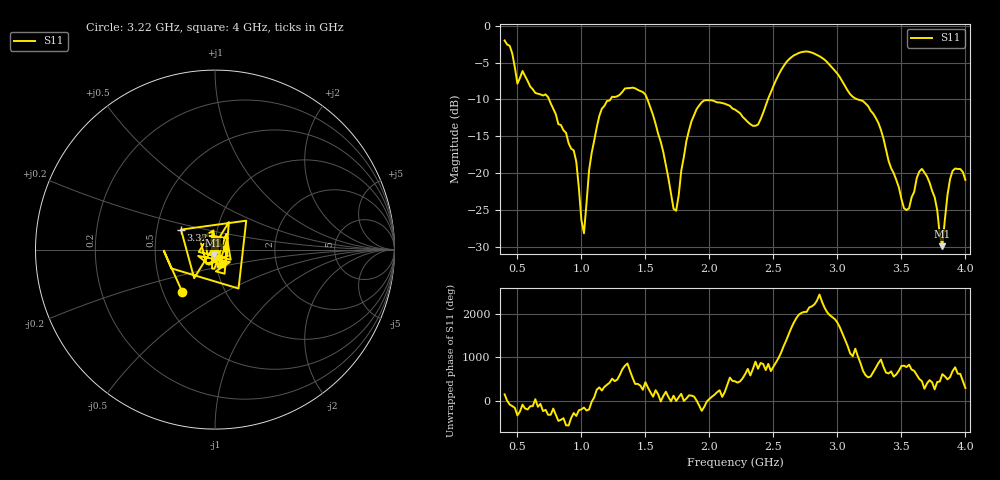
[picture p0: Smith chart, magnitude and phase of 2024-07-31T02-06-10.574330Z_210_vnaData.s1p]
!Created with skrf (http://scikit-rf.org).
# Hz S RI R 50.0
!freq ReS11 ImS11
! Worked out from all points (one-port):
!   181 points, 400 MHz to 4 GHz, reference 50 ohm
!   lowest |S11| = -29.9 dB at 3.82 GHz (marker M1), VSWR 1.07, Z = 49.1 - j3.06 ohm
!   |S11| at or under -10 dB: 747.7 MHz to 1.226 GHz (477.9 MHz wide, 48.4 % of centre); 1.516 GHz to 2.457 GHz (940.7 MHz wide, 47.4 % of centre); 3.159 GHz to end of sweep
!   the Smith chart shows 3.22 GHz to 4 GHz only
!   S11 on the Smith chart (normalised r, x): 3.22 GHz: 0.63, -0.32; 3.32 GHz: 0.67, +0.16; 4 GHz: 1.07, -0.17
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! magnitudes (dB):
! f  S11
! 400 MHz  -2.0
! 500 MHz  -7.9
! 540 MHz  -6.1
! 860 MHz  -14.2
! 960 MHz  -18.4
! 1.02 GHz  -28.1
! 1.06 GHz  -19.6
! 1.14 GHz  -12.2
! 1.3 GHz  -9.4
! 1.5 GHz  -9.3
! 1.64 GHz  -17.1
! 1.72 GHz  -24.8
! 1.76 GHz  -23.0
! 1.82 GHz  -15.6
! 1.9 GHz  -11.3
! 2.2 GHz  -11.4
! 2.38 GHz  -13.4
! 2.66 GHz  -4.0
! 2.88 GHz  -4.4
! 3.1 GHz  -9.3
! 3.22 GHz  -10.5
! 3.32 GHz  -13.2
! 3.56 GHz  -24.7
! 3.66 GHz  -19.4
! 3.76 GHz  -23.2
! 3.82 GHz  -29.9
! 3.9 GHz  -19.7
! 4 GHz  -20.9
